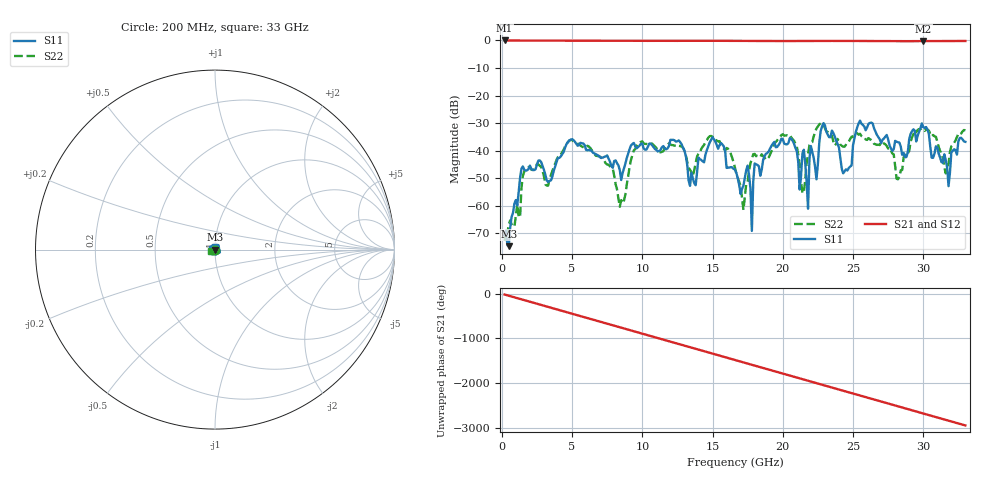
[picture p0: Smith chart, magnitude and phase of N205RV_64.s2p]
# GHZ S RI R 50
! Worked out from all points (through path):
!   329 points, 200 MHz to 33 GHz, reference 50 ohm
!   highest |S21| = -0.02 dB at 200 MHz (marker M1); lowest = -0.3 dB at 30 GHz (marker M2)
!   group delay of S21, straight-line fit = 248 ps
!   lowest |S11| = -74.7 dB at 500 MHz (marker M3), VSWR 1.00, Z = 50 + j0.000627 ohm
!   |S11| at or under -10 dB: start of sweep to end of sweep
!   |S22| runs from -72.8 to -30.0 dB; largest |S21 - S12| = 0.0019
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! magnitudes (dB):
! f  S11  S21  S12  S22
! 200 MHz  -70.7  0.0  0.0  -72.8
! 500 MHz  -74.7  0.0  0.0  -66.7
! 1.5 GHz  -45.7  -0.1  -0.1  -49.2
! 5.7 GHz  -37.3  -0.1  -0.1  -38.5
! 8.4 GHz  -47.1  -0.1  -0.1  -60.4
! 9.7 GHz  -38.7  -0.2  -0.2  -37.4
! 11.2 GHz  -40.1  -0.2  -0.2  -40.4
! 16.6 GHz  -46.8  -0.2  -0.2  -46.2
! 17.2 GHz  -52.7  -0.2  -0.2  -61.5
! 17.5 GHz  -45.4  -0.2  -0.2  -51.4
! 17.8 GHz  -69.2  -0.2  -0.2  -42.9
! 18 GHz  -44.7  -0.2  -0.2  -41.2
! 20.6 GHz  -35.7  -0.2  -0.2  -35.2
! 21.2 GHz  -54.1  -0.2  -0.2  -44.9
! 21.4 GHz  -41.0  -0.2  -0.2  -55.5
! 21.8 GHz  -61.1  -0.2  -0.2  -41.2
! 22.1 GHz  -40.5  -0.2  -0.2  -36.9
! 27.6 GHz  -38.1  -0.3  -0.3  -39.0
! 28.2 GHz  -37.0  -0.3  -0.3  -50.4
! 30 GHz  -31.5  -0.3  -0.3  -32.4
! 31.8 GHz  -52.9  -0.2  -0.2  -44.8
! 33 GHz  -36.8  -0.2  -0.2  -32.7
